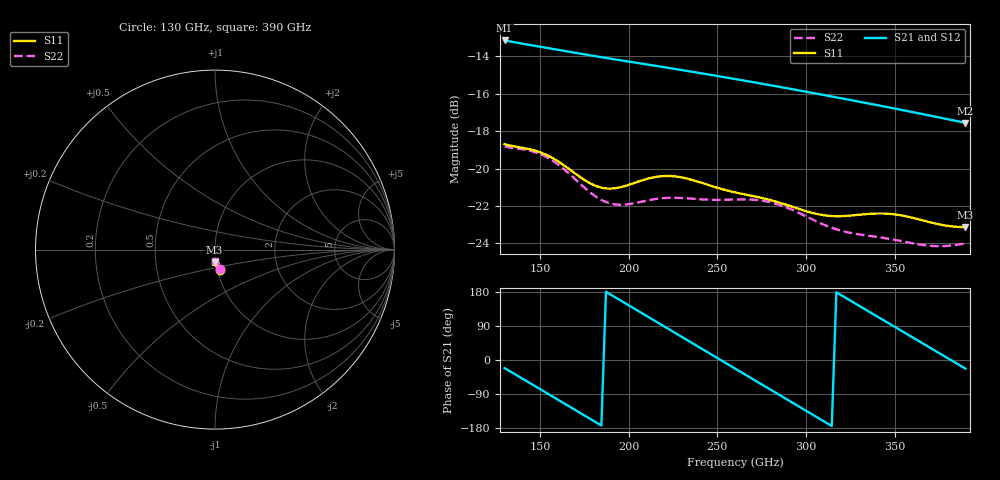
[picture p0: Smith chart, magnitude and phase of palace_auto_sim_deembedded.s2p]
! Created with skrf 1.11.0 (http://scikit-rf.org).
# GHz S DB R 50.0
!freq dBS11 angS11 dBS21 angS21 dBS12 angS12 dBS22 angS22
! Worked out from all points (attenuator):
!   101 points, 130 GHz to 390 GHz, reference 50 ohm
!   highest |S21| = -13.15 dB at 130 GHz (marker M1); lowest = -17.6 dB at 390 GHz (marker M2)
!   lowest |S11| = -23.1 dB at 390 GHz (marker M3), VSWR 1.15, Z = 49.3 - j6.91 ohm
!   |S11| at or under -10 dB: start of sweep to end of sweep
!   |S22| runs from -24.1 to -18.8 dB; largest |S21 - S12| = 2.4e-13
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130  -18.69 -77.3  -13.15 -21.4  -13.15 -21.4  -18.81 -74.9
143  -18.94 -77.7  -13.37 -57.4  -13.37 -57.4  -19.02 -76.1
153.4  -19.25 -79.9  -13.54 -86.2  -13.54 -86.2  -19.37 -79.1
163.8  -19.84 -82.0  -13.71 -115.1  -13.71 -115.1  -20.05 -82.0
174.2  -20.55 -81.8  -13.88 -144.0  -13.88 -144.0  -20.94 -82.6
184.6  -21.02 -79.3  -14.04 -172.9  -14.04 -172.9  -21.67 -80.3
195  -21.00 -76.7  -14.20 158.3  -14.20 158.3  -21.93 -76.9
208  -20.61 -76.7  -14.40 122.1  -14.40 122.1  -21.75 -75.0
218.4  -20.41 -79.2  -14.55 93.2  -14.55 93.2  -21.59 -75.8
228.8  -20.45 -82.4  -14.71 64.3  -14.71 64.3  -21.56 -77.4
241.8  -20.78 -85.7  -14.92 28.1  -14.92 28.1  -21.64 -79.1
260  -21.27 -88.0  -15.21 -22.5  -15.21 -22.5  -21.65 -81.8
280.8  -21.70 -90.4  -15.56 -80.4  -15.56 -80.4  -21.82 -87.5
291.2  -22.00 -91.4  -15.74 -109.2  -15.74 -109.2  -22.16 -90.4
304.2  -22.38 -91.3  -15.96 -145.3  -15.96 -145.3  -22.74 -92.5
314.6  -22.53 -90.4  -16.15 -174.2  -16.15 -174.2  -23.16 -92.8
325  -22.51 -89.9  -16.33 157.0  -16.33 157.0  -23.43 -92.5
338  -22.41 -90.6  -16.57 121.0  -16.57 121.0  -23.62 -92.5
348.4  -22.43 -92.1  -16.76 92.2  -16.76 92.2  -23.78 -93.0
358.8  -22.60 -93.4  -16.95 63.5  -16.95 63.5  -23.97 -93.1
371.8  -22.91 -93.8  -17.20 27.5  -17.20 27.5  -24.14 -92.5
390  -23.12 -92.1  -17.55 -22.7  -17.55 -22.7  -23.99 -91.6
